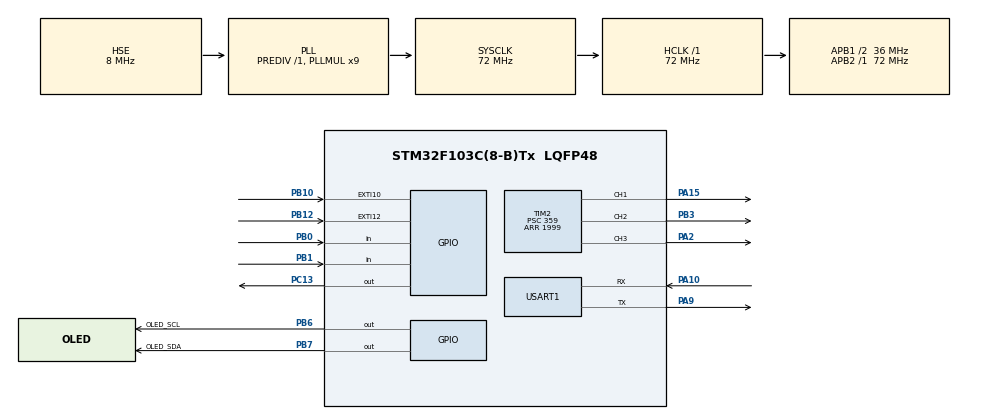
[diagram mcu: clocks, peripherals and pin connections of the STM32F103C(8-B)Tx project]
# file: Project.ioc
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FREERTOS.Tasks01=defaultTask,24,128,StartDefaultTask,Default,NULL,Dynamic,NULL,NULL
Mcu.Family=STM32F1
Mcu.Name=STM32F103C(8-B)Tx
Mcu.Package=LQFP48
NVIC.EXTI15_10_IRQn=true\:5\:0\:false\:false\:true\:true\:true\:true\:true
NVIC.PriorityGroup=NVIC_PRIORITYGROUP_4
NVIC.TIM4_IRQn=true\:15\:0\:false\:false\:true\:false\:false\:true\:true
NVIC.TimeBase=TIM4_IRQn
NVIC.TimeBaseIP=TIM4
PA10.Mode=Asynchronous
PA10.Signal=USART1_RX
PA13.Mode=Serial_Wire
PA13.Signal=SYS_JTMS-SWDIO
PA14.Mode=Serial_Wire
PA14.Signal=SYS_JTCK-SWCLK
PA15.Signal=S_TIM2_CH1_ETR
PA2.Signal=S_TIM2_CH3
PA9.Mode=Asynchronous
PA9.Signal=USART1_TX
PB0.GPIO_PuPd=GPIO_PULLUP
PB0.Signal=GPIO_Input
PB1.GPIO_PuPd=GPIO_PULLUP
PB1.Signal=GPIO_Input
PB10.GPIO_ModeDefaultEXTI=GPIO_MODE_IT_RISING_FALLING
PB10.GPIO_PuPd=GPIO_PULLUP
PB10.Signal=GPXTI10
PB12.GPIO_PuPd=GPIO_PULLUP
PB12.Signal=GPXTI12
PB3.Signal=S_TIM2_CH2
PB6.GPIO_Label=OLED_SCL
PB6.GPIO_ModeDefaultOutputPP=GPIO_MODE_OUTPUT_OD
PB6.GPIO_PuPd=GPIO_NOPULL
PB6.GPIO_Speed=GPIO_SPEED_FREQ_HIGH
PB6.PinState=GPIO_PIN_SET
PB6.Signal=GPIO_Output
PB7.GPIO_Label=OLED_SDA
PB7.GPIO_ModeDefaultOutputPP=GPIO_MODE_OUTPUT_OD
PB7.GPIO_PuPd=GPIO_NOPULL
PB7.GPIO_Speed=GPIO_SPEED_FREQ_HIGH
PB7.PinState=GPIO_PIN_SET
PB7.Signal=GPIO_Output
PC13-TAMPER-RTC.Signal=GPIO_Output
PD0-OSC_IN.Mode=HSE-External-Oscillator
PD0-OSC_IN.Signal=RCC_OSC_IN
PD1-OSC_OUT.Mode=HSE-External-Oscillator
PD1-OSC_OUT.Signal=RCC_OSC_OUT
ProjectManager.HeapSize=0x200
ProjectManager.StackSize=0x400
ProjectManager.TargetToolchain=MDK-ARM V5.32
RCC.AHBFreq_Value=72000000
RCC.APB1CLKDivider=RCC_HCLK_DIV2
RCC.APB1Freq_Value=36000000
RCC.APB1TimFreq_Value=72000000
RCC.APB2Freq_Value=72000000
RCC.APB2TimFreq_Value=72000000
RCC.HCLKFreq_Value=72000000
RCC.PLLMUL=RCC_PLL_MUL9
RCC.PLLSourceVirtual=RCC_PLLSOURCE_HSE
RCC.SYSCLKFreq_VALUE=72000000
RCC.SYSCLKSource=RCC_SYSCLKSOURCE_PLLCLK
RCC.USBFreq_Value=72000000
SH.S_TIM2_CH1_ETR.0=TIM2_CH1,PWM Generation1 CH1
SH.S_TIM2_CH2.0=TIM2_CH2,PWM Generation2 CH2
SH.S_TIM2_CH3.0=TIM2_CH3,PWM Generation3 CH3
TIM2.AutoReloadPreload=TIM_AUTORELOAD_PRELOAD_ENABLE
TIM2.Channel-PWM\ Generation1\ CH1=TIM_CHANNEL_1
TIM2.Channel-PWM\ Generation2\ CH2=TIM_CHANNEL_2
TIM2.Channel-PWM\ Generation3\ CH3=TIM_CHANNEL_3
TIM2.Period=1999
TIM2.Prescaler=359
USART1.VirtualMode=VM_ASYNC
VP_FREERTOS_VS_CMSIS_V2.Mode=CMSIS_V2
VP_SYS_VS_tim4.Mode=TIM4
VP_TIM2_VS_ClockSourceINT.Mode=Internal
board=custom

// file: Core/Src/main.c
/* USER CODE BEGIN Header */
/**
  ******************************************************************************
  * @file           : main.c
  * @brief          : Main program body
  ******************************************************************************
  * @attention
  *
  * Copyright (c) 2026 STMicroelectronics.
  * All rights reserved.
  *
  * This software is licensed under terms that can be found in the LICENSE file
  * in the root directory of this software component.
  * If no LICENSE file comes with this software, it is provided AS-IS.
  *
  ******************************************************************************
  */
/* USER CODE END Header */
#include "main.h"
#include "cmsis_os.h"
#include "tim.h"
#include "usart.h"
#include "gpio.h"

void SystemClock_Config(void);
void MX_FREERTOS_Init(void);

int main(void)
{

  /* MCU Configuration--------------------------------------------------------*/

  /* Reset of all peripherals, Initializes the Flash interface and the Systick. */
  HAL_Init();

  /* Configure the system clock */
  SystemClock_Config();

  /* Initialize all configured peripherals */
  MX_GPIO_Init();
  MX_TIM2_Init();
  MX_USART1_UART_Init();

  /* Init scheduler */
  osKernelInitialize();  /* Call init function for freertos objects (in cmsis_os2.c) */
  MX_FREERTOS_Init();

  /* Start scheduler */
  osKernelStart();

  /* We should never get here as control is now taken by the scheduler */

  /* Infinite loop */
  while (1)
  {

  }
}

void SystemClock_Config(void)
{
  RCC_OscInitTypeDef RCC_OscInitStruct = {0};
  RCC_ClkInitTypeDef RCC_ClkInitStruct = {0};

  /** Initializes the RCC Oscillators according to the specified parameters
  * in the RCC_OscInitTypeDef structure.
  */
  RCC_OscInitStruct.OscillatorType = RCC_OSCILLATORTYPE_HSE;
  RCC_OscInitStruct.HSEState = RCC_HSE_ON;
  RCC_OscInitStruct.HSEPredivValue = RCC_HSE_PREDIV_DIV1;
  RCC_OscInitStruct.HSIState = RCC_HSI_ON;
  RCC_OscInitStruct.PLL.PLLState = RCC_PLL_ON;
  RCC_OscInitStruct.PLL.PLLSource = RCC_PLLSOURCE_HSE;
  RCC_OscInitStruct.PLL.PLLMUL = RCC_PLL_MUL9;
  if (HAL_RCC_OscConfig(&RCC_OscInitStruct) != HAL_OK)
  {
    Error_Handler();
  }

  /** Initializes the CPU, AHB and APB buses clocks
  */
  RCC_ClkInitStruct.ClockType = RCC_CLOCKTYPE_HCLK|RCC_CLOCKTYPE_SYSCLK
                              |RCC_CLOCKTYPE_PCLK1|RCC_CLOCKTYPE_PCLK2;
  RCC_ClkInitStruct.SYSCLKSource = RCC_SYSCLKSOURCE_PLLCLK;
  RCC_ClkInitStruct.AHBCLKDivider = RCC_SYSCLK_DIV1;
  RCC_ClkInitStruct.APB1CLKDivider = RCC_HCLK_DIV2;
  RCC_ClkInitStruct.APB2CLKDivider = RCC_HCLK_DIV1;

  if (HAL_RCC_ClockConfig(&RCC_ClkInitStruct, FLASH_LATENCY_2) != HAL_OK)
  {
    Error_Handler();
  }
}

void HAL_TIM_PeriodElapsedCallback(TIM_HandleTypeDef *htim)
{
  if (htim->Instance == TIM4)
  {
    HAL_IncTick();
  }
}

void Error_Handler(void)
{
  __disable_irq();
  while (1)
  {
  }
}

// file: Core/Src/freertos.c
/* USER CODE BEGIN Header */
/**
  ******************************************************************************
  * File Name          : freertos.c
  * Description        : Code for freertos applications
  ******************************************************************************
  * @attention
  *
  * Copyright (c) 2026 STMicroelectronics.
  * All rights reserved.
  *
  * This software is licensed under terms that can be found in the LICENSE file
  * in the root directory of this software component.
  * If no LICENSE file comes with this software, it is provided AS-IS.
  *
  ******************************************************************************
  */
/* USER CODE END Header */

#include "FreeRTOS.h"
#include "task.h"
#include "main.h"
#include "cmsis_os.h"

/* USER CODE BEGIN PTD */
#if 1	//开启的任务 - 结构体定义

#endif
#if 0	//关闭的任务 - 结构体定义
/* 使用同一函数创建不同任务OLEDPrint ---------------------------------------------------------*/
struct TaskPrintInfo{
	uint8_t x; /* 列 */
	uint8_t y; /* 行 */
	char name[16];
};

#endif

/* USER CODE END PTD */

/* USER CODE BEGIN Variables */
#if 1	//开启的任务 - 句柄与变量定义

/* 静态任务 - 句柄与变量定义 ---------------------------------------------------------*/

/* 动态任务 - 句柄与变量定义 ---------------------------------------------------------*/

#endif
#if 0	//关闭的任务 - 句柄与变量定义
/* 静态任务 - 句柄与变量定义 ---------------------------------------------------------*/
	StaticTask_t xLEDTaskTCB;	//LED静态任务控制块（TCB）
	StackType_t xLEDTaskStack[128];	//任务栈空间数组
	TaskHandle_t xLEDTask_Handle = NULL;	// LED任务句柄

	StaticTask_t xOLEDTaskTCB;	//OLED静态任务控制块（TCB）
	StackType_t xOLEDTaskStack[128];	//任务栈空间数组
	TaskHandle_t xOLEDTask_Handle = NULL;	// OLED任务句柄

	StaticTask_t xIRReceiverTaskTCB;	//IRReceiver静态任务控制块（TCB）
	StackType_t xIRReceiverTaskStack[256];	//任务栈空间数组
	TaskHandle_t xIRReceiverTask_Handle = NULL;	// IRReceiver任务句柄

/* 动态任务 - 句柄与变量定义 ---------------------------------------------------------*/
/* 使用同一函数创建不同任务OLEDPrint ---------------------------------------------------------*/
	TaskHandle_t xOLEDPrintTask1_Handle = NULL;
	TaskHandle_t xOLEDPrintTask2_Handle = NULL;
	TaskHandle_t xOLEDPrintTask3_Handle = NULL;
	static struct TaskPrintInfo g_Task1Info = {1,1,"Task1"};//静态的全局变量只能在本文件中使用
	static struct TaskPrintInfo g_Task2Info = {1,2,"Task2"};
	static struct TaskPrintInfo g_Task3Info = {1,3,"Task3"};
	static int g_OLEDEnable = 1;

#endif

/* USER CODE END Variables */
/* Definitions for defaultTask */
osThreadId_t defaultTaskHandle;
const osThreadAttr_t defaultTask_attributes = {
  .name = "defaultTask",
  .stack_size = 128 * 4,
  .priority = (osPriority_t) osPriorityNormal,
};

/* USER CODE BEGIN FunctionPrototypes */

#if 1	//开启的任务 - 函数原型

#endif
#if 0	//关闭的任务 - 函数原型
/* 使用同一函数创建不同任务OLEDPrint ---------------------------------------------------------*/
void vOLEDPrintTaskFuction(void* params)
{
	struct TaskPrintInfo* Info = params;
	uint16_t cnt = 0;
	for(;;)
	{
		if(g_OLEDEnable)
		{
			g_OLEDEnable = 0;
			OLED_ClearLine(Info->y);
			OLED_ShowString(Info->y ,Info->x,Info->name);
			OLED_ShowChar(Info->y,6,':');
			OLED_ShowNumNoLength(Info->y,7,cnt++);
			g_OLEDEnable = 1;
		}
		vTaskDelay(pdMS_TO_TICKS(500));
	}
}
/*  ---------------------------------------------------------*/

#endif

/* USER CODE END FunctionPrototypes */

void StartDefaultTask(void *argument);

void MX_FREERTOS_Init(void); /* (MISRA C 2004 rule 8.1) */

void MX_FREERTOS_Init(void) {
  /* USER CODE BEGIN Init */
	OLED_Init();
	OLED_Clear();
	UART_Init();
	IRReceiver_Init();
//	RotaryEncoder_Init();

//	game1_init();
	demo_freertos_init();
  /* USER CODE END Init */

  /* Create the thread(s) */
  /* creation of defaultTask */
//  defaultTaskHandle = osThreadNew(StartDefaultTask, NULL, &defaultTask_attributes);

  /* USER CODE BEGIN RTOS_THREADS */
  /* add threads, ... */
#if 1	//开启的任务 - 任务创建
  /*创建任务：Game1*/

#endif
#if 0	//关闭的任务 - 任务创建
	//静态任务
  /*创建任务：LED*/
  xLEDTask_Handle = xTaskCreateStatic(vLEDTaskFunction,"LEDTask",128,NULL,osPriorityNormal,
		  xLEDTaskStack,&xLEDTaskTCB);
  /*创建任务：OLED*/
  xOLEDTask_Handle = xTaskCreateStatic(vOLEDTaskFunction,"OLEDTask",128,NULL,osPriorityNormal,
		  xOLEDTaskStack,&xOLEDTaskTCB);
  /*创建任务：IRReceiver*/
  xIRReceiverTask_Handle = xTaskCreateStatic(vIRReceiverTaskFunction,"IRReceiverTask",256,NULL,osPriorityNormal,
		  xIRReceiverTaskStack,&xIRReceiverTaskTCB);

  /*创建任务：旋转编码器*/
  xRotaryTask_Handle = xTaskCreateStatic(vRotaryEncoderTaskFunction,"RotaryEncoderTask",256,NULL,osPriorityNormal,
		  xRotaryTaskStack,&xRotaryTaskTCB);

	//动态任务
  /*使用同一函数创建不同任务OLEDPrint*/
	xTaskCreate(vOLEDPrintTaskFuction,"OLEDPrintTask1",128,
							&g_Task1Info,osPriorityNormal,&xOLEDPrintTask1_Handle);
	xTaskCreate(vOLEDPrintTaskFuction,"OLEDPrintTask2",128,
							&g_Task2Info,osPriorityNormal,&xOLEDPrintTask2_Handle);
	xTaskCreate(vOLEDPrintTaskFuction,"OLEDPrintTask3",128,
							&g_Task3Info,osPriorityNormal,&xOLEDPrintTask3_Handle);

#endif
  /* USER CODE END RTOS_THREADS */

}

void StartDefaultTask(void *argument)
{
  /* USER CODE BEGIN StartDefaultTask */
	static uint8_t test_buffer[1024];

  /* Infinite loop */
	for(;;)
	{
		vTaskDelay(1000);
	}

  /* USER CODE END StartDefaultTask */
}
